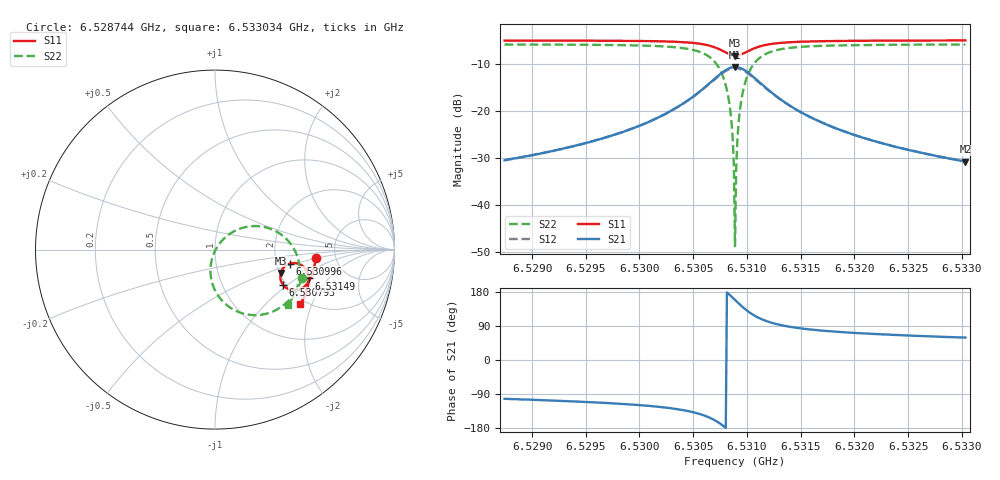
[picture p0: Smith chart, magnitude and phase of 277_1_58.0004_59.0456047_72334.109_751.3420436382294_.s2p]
#  HZ  S  RI  R  50.00
! Rohde & Schwarz Vector Network Analyzer
! Rohde-Schwarz,ZNB20-2Port,1311601062101988,3.16
! Created: UTC 3/21/2024, 1:02:43 AM
! freq[Hz]  re:S11  im:S11  re:S21  im:S21  re:S12  im:S12  re:S22  im:S22
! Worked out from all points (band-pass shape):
!   401 points, 6.528744 GHz to 6.533034 GHz, reference 50 ohm
!   highest |S21| = -10.63 dB at 6.530889 GHz (marker M1); lowest = -30.8 dB at 6.533034 GHz (marker M2)
!   |S21| within 3 dB of the highest: 6.530675 GHz to 6.531104 GHz (428.9 kHz wide, 0.00657 % of centre)
!   lowest |S11| = -8.2 dB at 6.530889 GHz (marker M3), VSWR 2.27, Z = 102 - j31 ohm
!   |S11| at or under -10 dB: nowhere
!   |S22| runs from -48.8 to -5.8 dB; largest |S21 - S12| = 0.011
!   S11 on the Smith chart (normalised r, x): 6.528744 GHz: 3.50, -0.47; 6.530793 GHz: 1.93, -0.92; 6.530996 GHz: 2.38, -0.45; 6.53149 GHz: 2.76, -1.26; 6.533034 GHz: 1.86, -1.65
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6.5287445e9  0.5601 -0.0457  -0.00648 -0.0291  -0.00697 -0.0291  0.4852 -0.1595
6.529463e9  0.551 -0.1051  -0.0154 -0.0415  -0.0164 -0.0413  0.4553 -0.2241
6.5301815e9  0.5242 -0.1756  -0.0475 -0.0715  -0.0495 -0.0702  0.377 -0.3137
6.5306104e9  0.4561 -0.226  -0.1511 -0.097  -0.1534 -0.091  0.1782 -0.3612
6.5307176e9  0.4127 -0.2218  -0.218 -0.072  -0.2174 -0.063  0.0652 -0.3086
6.5307927e9  0.3787 -0.1961  -0.2676 -0.0159  -0.2623 -0.00644  -0.0089 -0.2063
6.5308249e9  0.3683 -0.1768  -0.2808 0.021  -0.2732 0.0295  -0.0242 -0.1427
6.5308463e9  0.3644 -0.1617  -0.284 0.0491  -0.2752 0.0562  -0.0245 -0.0959
6.5308571e9  0.3636 -0.1537  -0.2837 0.0637  -0.2743 0.07  -0.0214 -0.0722
6.5308678e9  0.3637 -0.1456  -0.2818 0.0785  -0.2721 0.0837  -0.0159 -0.0485
6.5308785e9  0.3646 -0.1374  -0.2787 0.093  -0.2686 0.0975  -0.00809 -0.0254
6.5308892e9  0.3665 -0.1295  -0.2739 0.1072  -0.2636 0.1108  0.00205 -0.00299
6.5309107e9  0.3728 -0.1143  -0.2604 0.134  -0.2502 0.1358  0.029 0.0383
6.5309214e9  0.3771 -0.1074  -0.2517 0.1459  -0.2419 0.1469  0.0451 0.0565
6.5309428e9  0.3875 -0.0953  -0.2319 0.167  -0.2226 0.1665  0.0813 0.087
6.5309965e9  0.4191 -0.0775  -0.1741 0.1981  -0.1675 0.1953  0.1818 0.1279
6.5310608e9  0.4552 -0.0763  -0.1107 0.2019  -0.1069 0.1991  0.2881 0.1225
6.5311573e9  0.4913 -0.0942  -0.0486 0.1778  -0.0467 0.1759  0.3889 0.0675
6.5314898e9  0.5219 -0.1608  0.0105 0.0983  0.0117 0.098  0.4712 -0.0973
6.5316077e9  0.5218 -0.1778  0.0146 0.0827  0.0156 0.0826  0.472 -0.1317
6.5323262e9  0.5029 -0.2499  0.0171 0.0398  0.0177 0.0394  0.4434 -0.2456
6.533034e9  0.476 -0.3025  0.0148 0.0248  0.0154 0.0246  0.4083 -0.306
